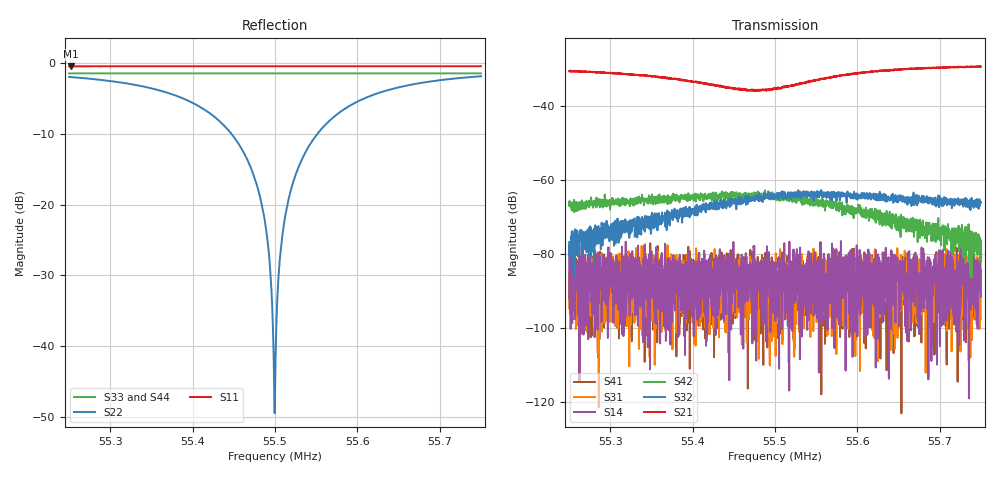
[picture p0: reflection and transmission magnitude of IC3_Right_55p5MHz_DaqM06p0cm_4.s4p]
#  HZ  S  DB  R  50.00
! Rohde & Schwarz Vector Network Analyzer
! Rohde-Schwarz,ZNB8-4Port,1311601044102961,2.82
! Created: UTC 2/13/2019, 1:54:20 PM
! freq[Hz]  db:S11  ang:S11  db:S12  ang:S12  db:S13  ang:S13  db:S14  ang:S14
!  db:S21  ang:S21  db:S22  ang:S22  db:S23  ang:S23  db:S24  ang:S24
!  db:S31  ang:S31  db:S32  ang:S32  db:S33  ang:S33  db:S34  ang:S34
!  db:S41  ang:S41  db:S42  ang:S42  db:S43  ang:S43  db:S44  ang:S44
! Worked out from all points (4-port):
!   2001 points, 55.25 MHz to 55.75 MHz, reference 50 ohm
!   strongest paths, dB at 55.25 MHz, 55.375 MHz, 55.5 MHz, 55.625 MHz, 55.75 MHz:
!     S21: -30.6, -32.8, -35.4, -30.6, -29.4
!     S32: -76.8, -69.9, -65.1, -64.8, -66.0
!     S42: -66.9, -65.7, -64.8, -68.6, -76.4
!     S14: -78.6, -95.1, -89.9, -81.6, -91.5
!     S31: -85.3, -97.7, -89.7, -108.9, -90.6
!     S41: -86.2, -96.4, -92.4, -83.8, -89.0
!   lowest |S11| = -0.4 dB at 55.2518 MHz (marker M1), VSWR 41.47, Z = 2.13 + j43.8 ohm
!   |S11| at or under -10 dB: nowhere
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5.525e7  -0.41 97.5  -30.61 71.3  -87.22 157.5  -78.55 -41.3
         -30.65 72.5  -1.91 -138.0  -74.60 14.8  -67.64 -150.6
         -85.25 -167.4  -76.83 -11.1  -1.41 24.7  -83.00 -90.5
         -86.19 77.7  -66.92 -150.6  -82.84 -26.4  -1.43 31.2
5.525175e7  -0.42 97.5  -30.57 71.8  -93.94 102.0  -80.09 19.7
            -30.69 72.1  -1.93 -138.3  -77.94 -19.9  -67.33 -146.1
            -91.17 77.7  -79.99 -11.8  -1.42 24.7  -82.32 -139.8
            -93.43 69.1  -65.96 -153.5  -91.99 -83.2  -1.43 31.2
5.545075e7  -0.40 93.7  -35.47 72.0  -88.48 -103.5  -90.64 -1.3
            -35.35 72.0  -10.53 169.1  -65.18 -43.3  -64.57 166.8
            -82.26 44.9  -65.48 -39.6  -1.41 22.2  -90.10 107.8
            -83.04 -38.2  -64.32 160.4  -89.95 -118.4  -1.42 28.7
5.54995e7  -0.40 92.8  -35.19 90.7  -89.68 82.8  -83.35 -160.7
           -35.45 91.6  -49.54 55.9  -63.91 -62.4  -62.16 149.5
           -86.51 -111.5  -64.24 -59.2  -1.40 21.6  -81.74 84.2
           -85.49 -163.8  -64.58 146.1  -85.50 57.2  -1.42 28.1
5.551325e7  -0.39 92.6  -34.88 95.4  -85.01 -31.0  -88.97 153.9
            -34.86 95.7  -21.07 -35.9  -63.96 -64.0  -64.54 141.8
            -86.26 115.3  -64.20 -66.0  -1.40 21.4  -81.72 149.5
            -85.57 -39.6  -65.18 140.8  -83.47 156.0  -1.42 27.9
5.554925e7  -0.40 91.9  -32.98 100.3  -84.18 -142.4  -88.16 1.1
            -33.15 100.1  -10.32 -53.3  -63.80 -81.0  -67.01 123.1
            -82.12 124.4  -63.73 -78.2  -1.40 20.9  -91.55 15.2
            -84.84 -126.3  -65.41 126.1  -84.13 7.1  -1.42 27.5
5.575e7  -0.39 88.3  -29.50 82.0  -90.52 -86.2  -91.55 140.4
         -29.44 82.2  -1.82 -107.3  -67.67 -124.2  -76.25 101.5
         -90.57 156.1  -65.99 -125.3  -1.40 18.4  -88.49 31.4
         -88.96 -41.0  -76.43 72.7  -81.32 17.5  -1.42 25.0
